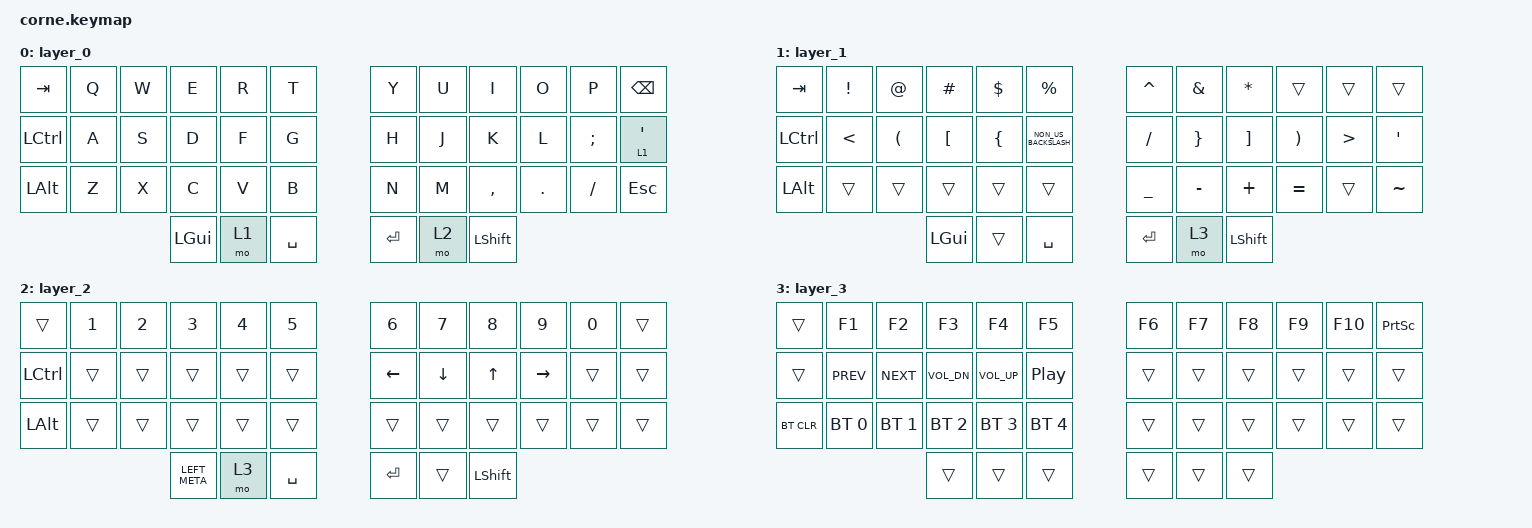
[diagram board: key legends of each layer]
/*
 * Copyright (c) 2020 The ZMK Contributors
 *
 * SPDX-License-Identifier: MIT
 */

#include <behaviors.dtsi>
#include <dt-bindings/zmk/bt.h>
#include <dt-bindings/zmk/keys.h>

/ {
    behaviors {
        tp: tap_preferred {
            compatible = "zmk,behavior-hold-tap";
            label = "TAP_PREFERRED";
            #binding-cells = <2>;
            tapping-term-ms = <150>;
            quick-tap-ms = <0>;
            flavor = "tap-preferred";
            bindings = <&kp>, <&kp>;
        };
    };

    keymap {
        compatible = "zmk,keymap";

        layer_0 {
            // -----------------------------------------------------------------------------------------
            // | TAB  |  Q  |  W  |  E  |  R  |    T    |   |  Y  |  U   |  I  |  O  |  P  | ESC |
            // | CTRL |  A  |  S  |  D  |  F  |    G    |   |  H  |  J   |  K  |  L  |  ;  |  LWR/'   |
            // | SHFT |  Z  |  X  |  C  |  V  |    B    |   |  N  |  M   |  ,  |  .  |  /  | SHFT |
            //                    | GUI | LWR | ALT/ENT |   | HYPER/SPC | BKSP  | RSE |

            bindings = <
&kp TAB       &kp Q  &kp W  &kp E     &kp R  &kp T        &kp Y      &kp U  &kp I           &kp O    &kp P     &kp BACKSPACE
&kp LCTRL     &kp A  &kp S  &kp D     &kp F  &kp G        &kp H      &kp J  &kp K           &kp L    &kp SEMI  &lt 1 SQT
&kp LEFT_ALT  &kp Z  &kp X  &kp C     &kp V  &kp B        &kp N      &kp M  &kp COMMA       &kp DOT  &kp FSLH  &kp ESCAPE
                            &kp LGUI  &mo 1  &kp SPACE    &kp ENTER  &mo 2  &kp LEFT_SHIFT
            >;
        };

        layer_1 {
            // -----------------------------------------------------------------------------------------
            // |      |  !  |  @  |  #  |  $  |    %     |   |  ^  |  &  |  *  |  (  |  )  |   \   |
            // |      |  1  |  2  |  3  |  4  |    5     |   |  -  |  =  |  `  |  [  |  ]  |  "|"  |
            // | SHFT |  6  |  7  |  8  |  9  |    0     |   |  _  |  +  |  ~  |  {  |  }  | RSHFT |
            //                     | GUI |     | ALT/ENT |   | HYPER/SPACE | BKSP |    |

            bindings = <
&kp TAB       &kp EXCL       &kp AT                &kp HASH          &kp DLLR        &kp PRCNT               &kp CARET  &kp AMPS         &kp ASTERISK       &trans                 &trans            &trans
&kp LCTRL     &kp LESS_THAN  &kp LEFT_PARENTHESIS  &kp LEFT_BRACKET  &kp LEFT_BRACE  &kp NON_US_BACKSLASH    &kp SLASH  &kp RIGHT_BRACE  &kp RIGHT_BRACKET  &kp RIGHT_PARENTHESIS  &kp GREATER_THAN  &kp SQT
&kp LEFT_ALT  &trans         &trans                &trans            &trans          &trans                  &kp UNDER  &kp MINUS        &kp PLUS           &kp EQUAL              &trans            &kp TILDE
                                                   &kp LGUI          &trans          &kp SPACE               &kp ENTER  &mo 3            &kp LSHIFT
            >;
        };

        layer_2 {
            // -----------------------------------------------------------------------------------------
            // |       |  F1  |  F2  |  F3  |  F4  |  F5 |            |  F6  |  F7  |  F8  |  F9  |  F10  |   |
            // |       | Prev | Next | Vol - | Vol + | Play/Pause |   |      | LFT | DWN |  UP | RGT |     |     |
            // | BTCLR | BT1 | BT2 | BT3 | BT4 | BT5 |   |            |     |     |     |     |     |     |
            //                    |     |     |    |                  |     |     |     |

            bindings = <
&trans        &kp NUMBER_1  &kp NUMBER_2  &kp NUMBER_3   &kp NUMBER_4  &kp N5       &kp NUMBER_6  &kp N7    &kp N8          &kp N9     &kp N0  &trans
&kp LCTRL     &trans        &trans        &trans         &trans        &trans       &kp LEFT      &kp DOWN  &kp UP          &kp RIGHT  &trans  &trans
&kp LEFT_ALT  &trans        &trans        &trans         &trans        &trans       &trans        &trans    &trans          &trans     &trans  &trans
                                          &kp LEFT_META  &mo 3         &kp SPACE    &kp ENTER     &trans    &kp LEFT_SHIFT
            >;
        };

        layer_3 {
            bindings = <
&trans      &kp F1        &kp F2        &kp F3        &kp F4        &kp F5          &kp F6  &kp F7  &kp F8  &kp F9  &kp F10  &kp PRINTSCREEN
&trans      &kp C_PREV    &kp C_NEXT    &kp C_VOL_DN  &kp C_VOL_UP  &kp C_PP        &trans  &trans  &trans  &trans  &trans   &trans
&bt BT_CLR  &bt BT_SEL 0  &bt BT_SEL 1  &bt BT_SEL 2  &bt BT_SEL 3  &bt BT_SEL 4    &trans  &trans  &trans  &trans  &trans   &trans
                                        &trans        &trans        &trans          &trans  &trans  &trans
            >;
        };
    };
};
